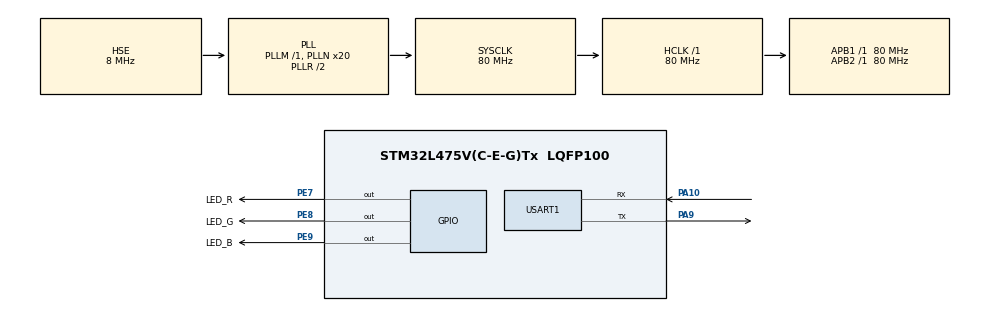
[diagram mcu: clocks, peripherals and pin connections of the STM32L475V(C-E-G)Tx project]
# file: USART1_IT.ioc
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Mcu.Family=STM32L4
Mcu.Name=STM32L475V(C-E-G)Tx
Mcu.Package=LQFP100
NVIC.PriorityGroup=NVIC_PRIORITYGROUP_4
NVIC.USART1_IRQn=true\:7\:0\:true\:false\:true\:true\:true
PA10.Mode=Asynchronous
PA10.Signal=USART1_RX
PA13\ (JTMS-SWDIO).Mode=Serial_Wire
PA13\ (JTMS-SWDIO).Signal=SYS_JTMS-SWDIO
PA14\ (JTCK-SWCLK).Mode=Serial_Wire
PA14\ (JTCK-SWCLK).Signal=SYS_JTCK-SWCLK
PA9.Mode=Asynchronous
PA9.Signal=USART1_TX
PE7.GPIO_Label=LED_R
PE7.GPIO_PuPd=GPIO_PULLUP
PE7.GPIO_Speed=GPIO_SPEED_FREQ_HIGH
PE7.PinState=GPIO_PIN_SET
PE7.Signal=GPIO_Output
PE8.GPIO_Label=LED_G
PE8.GPIO_PuPd=GPIO_PULLUP
PE8.GPIO_Speed=GPIO_SPEED_FREQ_HIGH
PE8.PinState=GPIO_PIN_SET
PE8.Signal=GPIO_Output
PE9.GPIO_Label=LED_B
PE9.GPIO_PuPd=GPIO_PULLUP
PE9.GPIO_Speed=GPIO_SPEED_FREQ_HIGH
PE9.PinState=GPIO_PIN_SET
PE9.Signal=GPIO_Output
PH0-OSC_IN\ (PH0).Mode=HSE-External-Oscillator
PH0-OSC_IN\ (PH0).Signal=RCC_OSC_IN
PH1-OSC_OUT\ (PH1).Mode=HSE-External-Oscillator
PH1-OSC_OUT\ (PH1).Signal=RCC_OSC_OUT
ProjectManager.HeapSize=0x200
ProjectManager.StackSize=0x400
ProjectManager.TargetToolchain=MDK-ARM V5
RCC.ADCFreq_Value=32000000
RCC.AHBFreq_Value=80000000
RCC.APB1Freq_Value=80000000
RCC.APB1TimFreq_Value=80000000
RCC.APB2Freq_Value=80000000
RCC.APB2TimFreq_Value=80000000
RCC.CortexFreq_Value=80000000
RCC.HCLKFreq_Value=80000000
RCC.HSE_VALUE=8000000
RCC.HSI_VALUE=16000000
RCC.MSI_VALUE=4000000
RCC.PLLN=20
RCC.PLLSourceVirtual=RCC_PLLSOURCE_HSE
RCC.SYSCLKFreq_VALUE=80000000
RCC.SYSCLKSource=RCC_SYSCLKSOURCE_PLLCLK
RCC.USBFreq_Value=32000000
RCC.VCOOutputFreq_Value=160000000
USART1.VirtualMode-Asynchronous=VM_ASYNC
board=custom

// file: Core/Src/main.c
/* USER CODE BEGIN Header */
/**
  ******************************************************************************
  * @file           : main.c
  * @brief          : Main program body
  ******************************************************************************
  * @attention
  *
  * <h2><center>&copy; Copyright (c) 2019 STMicroelectronics.
  * All rights reserved.</center></h2>
  *
  * This software component is licensed by ST under BSD 3-Clause license,
  * the "License"; You may not use this file except in compliance with the
  * License. You may obtain a copy of the License at:
  *                        opensource.org/licenses/BSD-3-Clause
  *
  ******************************************************************************
  */
/* USER CODE END Header */

#include "main.h"

/* USER CODE BEGIN PV */
USART_BuffTypeDef usart1_buf;

/* USER CODE END PV */

void SystemClock_Config(void);

int main(void)
{
  /* USER CODE BEGIN 1 */
	uint16_t times = 0;
	uint16_t colors = BLACK;
  /* USER CODE END 1 */

  /* MCU Configuration--------------------------------------------------------*/

  /* Reset of all peripherals, Initializes the Flash interface and the Systick. */
  HAL_Init();

  /* Configure the system clock */
  SystemClock_Config();

  /* Initialize all configured peripherals */
  MX_GPIO_Init();
  MX_USART1_UART_Init();
  /* USER CODE BEGIN 2 */

	if(HAL_UART_Receive_IT(&huart1, &usart1_buf.aRxBuff, 1) != HAL_OK){
		Error_Handler();
	}

  /* USER CODE END 2 */

  /* Infinite loop */
  while (1)
  {

    /* USER CODE BEGIN 3 */
		if(usart1_buf.Rx_end_flag == 1){
			sprintf((char *)usart1_buf.TxBuff,"\r\n接收到的字符个数为：%d\r\n接收到的数据为：%s\r\n",usart1_buf.RxSize, usart1_buf.RxBuff);
			usart1_buf.TxSize = strlen((char *)usart1_buf.TxBuff);
			usart1_buf.Tx_end_flag = 0;

			if(HAL_UART_Transmit_IT(&huart1, usart1_buf.TxBuff, usart1_buf.TxSize) != HAL_OK){
				Error_Handler();
			}
      colors = usart1_buf.RxSize;
			usart1_buf.RxSize = 0;
			usart1_buf.Rx_end_flag = 0;
			memset(usart1_buf.RxBuff,0,usart1_buf.RxSize);
		}else{

			if(times % 1000 == 0){
				sprintf((char *)usart1_buf.TxBuff,"\r\n请输入数据，以回车键结束：\r\n");
				usart1_buf.TxSize = strlen((char *)usart1_buf.TxBuff);
        usart1_buf.Tx_end_flag = 1;

				if(HAL_UART_Transmit_IT(&huart1, usart1_buf.TxBuff, usart1_buf.TxSize) != HAL_OK){
					Error_Handler();
				}
			}

			RGB_ON((times/100)%2 ? colors : BLACK);

			times++;

			HAL_Delay(10);
		}

  }
  /* USER CODE END 3 */
}

void SystemClock_Config(void)
{
  RCC_OscInitTypeDef RCC_OscInitStruct = {0};
  RCC_ClkInitTypeDef RCC_ClkInitStruct = {0};
  RCC_PeriphCLKInitTypeDef PeriphClkInit = {0};

  /** Initializes the CPU, AHB and APB busses clocks
  */
  RCC_OscInitStruct.OscillatorType = RCC_OSCILLATORTYPE_HSE;
  RCC_OscInitStruct.HSEState = RCC_HSE_ON;
  RCC_OscInitStruct.PLL.PLLState = RCC_PLL_ON;
  RCC_OscInitStruct.PLL.PLLSource = RCC_PLLSOURCE_HSE;
  RCC_OscInitStruct.PLL.PLLM = 1;
  RCC_OscInitStruct.PLL.PLLN = 20;
  RCC_OscInitStruct.PLL.PLLP = RCC_PLLP_DIV7;
  RCC_OscInitStruct.PLL.PLLQ = RCC_PLLQ_DIV2;
  RCC_OscInitStruct.PLL.PLLR = RCC_PLLR_DIV2;
  if (HAL_RCC_OscConfig(&RCC_OscInitStruct) != HAL_OK)
  {
    Error_Handler();
  }
  /** Initializes the CPU, AHB and APB busses clocks
  */
  RCC_ClkInitStruct.ClockType = RCC_CLOCKTYPE_HCLK|RCC_CLOCKTYPE_SYSCLK
                              |RCC_CLOCKTYPE_PCLK1|RCC_CLOCKTYPE_PCLK2;
  RCC_ClkInitStruct.SYSCLKSource = RCC_SYSCLKSOURCE_PLLCLK;
  RCC_ClkInitStruct.AHBCLKDivider = RCC_SYSCLK_DIV1;
  RCC_ClkInitStruct.APB1CLKDivider = RCC_HCLK_DIV1;
  RCC_ClkInitStruct.APB2CLKDivider = RCC_HCLK_DIV1;

  if (HAL_RCC_ClockConfig(&RCC_ClkInitStruct, FLASH_LATENCY_4) != HAL_OK)
  {
    Error_Handler();
  }
  PeriphClkInit.PeriphClockSelection = RCC_PERIPHCLK_USART1;
  PeriphClkInit.Usart1ClockSelection = RCC_USART1CLKSOURCE_PCLK2;
  if (HAL_RCCEx_PeriphCLKConfig(&PeriphClkInit) != HAL_OK)
  {
    Error_Handler();
  }
  /** Configure the main internal regulator output voltage
  */
  if (HAL_PWREx_ControlVoltageScaling(PWR_REGULATOR_VOLTAGE_SCALE1) != HAL_OK)
  {
    Error_Handler();
  }
}

void Error_Handler(void)
{
}

/************************ (C) COPYRIGHT STMicroelectronics *****END OF FILE****/
